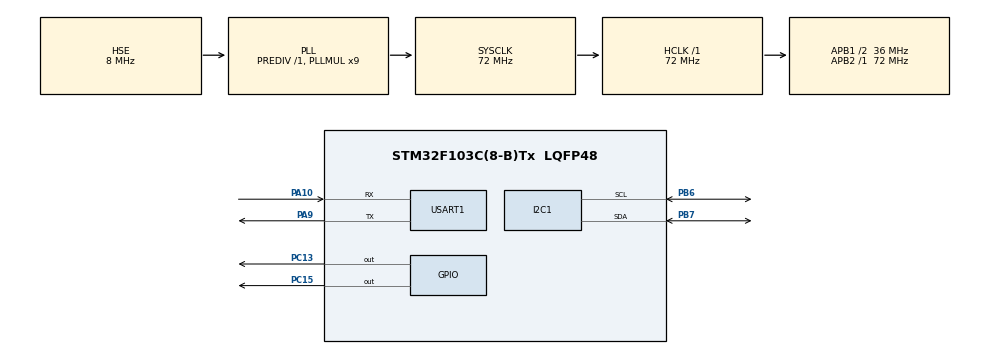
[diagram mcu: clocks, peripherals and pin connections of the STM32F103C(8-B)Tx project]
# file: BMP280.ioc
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Mcu.Family=STM32F1
Mcu.Name=STM32F103C(8-B)Tx
Mcu.Package=LQFP48
NVIC.PriorityGroup=NVIC_PRIORITYGROUP_4
NVIC.USART1_IRQn=true\:1\:0\:true\:false\:true\:true\:true\:true
PA10.Mode=Asynchronous
PA10.Signal=USART1_RX
PA13.Mode=Serial_Wire
PA13.Signal=SYS_JTMS-SWDIO
PA14.Mode=Serial_Wire
PA14.Signal=SYS_JTCK-SWCLK
PA9.Mode=Asynchronous
PA9.Signal=USART1_TX
PB6.Mode=I2C
PB6.Signal=I2C1_SCL
PB7.Mode=I2C
PB7.Signal=I2C1_SDA
PC13-TAMPER-RTC.Signal=GPIO_Output
PC15-OSC32_OUT.Signal=GPIO_Output
PD0-OSC_IN.Mode=HSE-External-Oscillator
PD0-OSC_IN.Signal=RCC_OSC_IN
PD1-OSC_OUT.Mode=HSE-External-Oscillator
PD1-OSC_OUT.Signal=RCC_OSC_OUT
ProjectManager.HeapSize=0x200
ProjectManager.StackSize=0x400
ProjectManager.TargetToolchain=CMake
RCC.AHBFreq_Value=72000000
RCC.APB1CLKDivider=RCC_HCLK_DIV2
RCC.APB1Freq_Value=36000000
RCC.APB1TimFreq_Value=72000000
RCC.APB2Freq_Value=72000000
RCC.APB2TimFreq_Value=72000000
RCC.HCLKFreq_Value=72000000
RCC.PLLMUL=RCC_PLL_MUL9
RCC.PLLSourceVirtual=RCC_PLLSOURCE_HSE
RCC.SYSCLKFreq_VALUE=72000000
RCC.SYSCLKSource=RCC_SYSCLKSOURCE_PLLCLK
RCC.USBFreq_Value=72000000
USART1.VirtualMode=VM_ASYNC
board=custom

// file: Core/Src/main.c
/* USER CODE BEGIN Header */
/**
 ******************************************************************************
 * @file           : main.c
 * @brief          : Main program body
 ******************************************************************************
 * @attention
 *
 * Copyright (c) 2025 STMicroelectronics.
 * All rights reserved.
 *
 * This software is licensed under terms that can be found in the LICENSE file
 * in the root directory of this software component.
 * If no LICENSE file comes with this software, it is provided AS-IS.
 *
 ******************************************************************************
 */
/* USER CODE END Header */
#include "main.h"

/* USER CODE BEGIN Includes */
#include "BMP280.h"
#include "UART_Handle.h"
#include "stdio.h"
#include "string.h"
#include "math.h"
/* USER CODE END Includes */

I2C_HandleTypeDef hi2c1;

UART_HandleTypeDef huart1;

/* USER CODE BEGIN PV */
BMP280_HandleTypeDef hbmp280_1;
/* USER CODE END PV */

void SystemClock_Config(void);
static void MX_GPIO_Init(void);
static void MX_I2C1_Init(void);
static void MX_USART1_UART_Init(void);

/* USER CODE BEGIN 0 */
float temperature = 0.0f, pressure = 0.0f;
uint8_t data_rx;
char tx_buffer[50];

void HAL_UART_RxCpltCallback(UART_HandleTypeDef *huart)
{
  if (huart->Instance == huart1.Instance)
  {
    UART_Receive_Rx(&data_rx);
    HAL_UART_Receive_IT(&huart1, &data_rx, 1);
  }
}

void float_to_str(float value, char *buffer, int decimal_places)
{
  char temp_buffer[20];
  int is_negative = 0;

  if (value < 0)
  {
    is_negative = 1;
    value = -value;
  }

  int integer_part = (int)value;
  float fractional_part = value - integer_part;

  int fractional_int = 0;
  for (int i = 0; i < decimal_places; i++)
  {
    fractional_part *= 10;
  }
  fractional_int = (int)(fractional_part + 0.5);

  // Xử lý tràn
  if (fractional_int >= pow(10, decimal_places))
  {
    integer_part++;
    fractional_int = 0;
  }

  if (decimal_places == 1)
  {
    sprintf(temp_buffer, "%d.%d", integer_part, fractional_int);
  }
  else if (decimal_places == 2)
  {
    sprintf(temp_buffer, "%d.%02d", integer_part, fractional_int);
  }
  else
  {
    sprintf(temp_buffer, "%d.%d", integer_part, fractional_int);
  }

  // Thêm dấu âm nếu cần
  if (is_negative)
  {
    sprintf(buffer, "-%s", temp_buffer);
  }
  else
  {
    strcpy(buffer, temp_buffer);
  }
}
/* USER CODE END 0 */

int main(void)
{

  /* MCU Configuration--------------------------------------------------------*/

  /* Reset of all peripherals, Initializes the Flash interface and the Systick. */
  HAL_Init();

  /* Configure the system clock */
  SystemClock_Config();

  /* Initialize all configured peripherals */
  MX_GPIO_Init();
  MX_I2C1_Init();
  MX_USART1_UART_Init();
  /* USER CODE BEGIN 2 */
  UART_Handle_Init();
  HAL_UART_Receive_IT(&huart1, &data_rx, 1);
  HAL_StatusTypeDef status = BMP280_Init(&hbmp280_1, &hi2c1);
  if (status == HAL_OK)
  {
    HAL_GPIO_WritePin(GPIOC, GPIO_PIN_15, GPIO_PIN_SET);
  }
  uint32_t last_send = 0;
  /* USER CODE END 2 */

  /* Infinite loop */
  while (1)
  {

    /* USER CODE BEGIN 3 */
    if (status == HAL_OK && (HAL_GetTick() - last_send > 2000)) /* Each 2 seconds */
    {
      if (BMP280_Read_Temperature_And_Pressure(&hbmp280_1, &temperature, &pressure) == HAL_OK)
      {
        char temp_str[10], press_str[10];
        float_to_str(temperature, temp_str, 1);
        float_to_str(pressure, press_str, 1);
        int len = sprintf(tx_buffer, "T:%sC P:%shPa\r\n", temp_str, press_str);
        HAL_UART_Transmit(&huart1, (uint8_t *)tx_buffer, len, 1000);

        HAL_GPIO_TogglePin(GPIOC, GPIO_PIN_13);
      }
      else
      {
        HAL_UART_Transmit(&huart1, (uint8_t *)"READ ERROR\r\n", 12, 1000);
      }
      last_send = HAL_GetTick();
    }
  }

  /* USER CODE END 3 */
}

void SystemClock_Config(void)
{
  RCC_OscInitTypeDef RCC_OscInitStruct = {0};
  RCC_ClkInitTypeDef RCC_ClkInitStruct = {0};

  /** Initializes the RCC Oscillators according to the specified parameters
   * in the RCC_OscInitTypeDef structure.
   */
  RCC_OscInitStruct.OscillatorType = RCC_OSCILLATORTYPE_HSE;
  RCC_OscInitStruct.HSEState = RCC_HSE_ON;
  RCC_OscInitStruct.HSEPredivValue = RCC_HSE_PREDIV_DIV1;
  RCC_OscInitStruct.HSIState = RCC_HSI_ON;
  RCC_OscInitStruct.PLL.PLLState = RCC_PLL_ON;
  RCC_OscInitStruct.PLL.PLLSource = RCC_PLLSOURCE_HSE;
  RCC_OscInitStruct.PLL.PLLMUL = RCC_PLL_MUL9;
  if (HAL_RCC_OscConfig(&RCC_OscInitStruct) != HAL_OK)
  {
    Error_Handler();
  }

  /** Initializes the CPU, AHB and APB buses clocks
   */
  RCC_ClkInitStruct.ClockType = RCC_CLOCKTYPE_HCLK | RCC_CLOCKTYPE_SYSCLK | RCC_CLOCKTYPE_PCLK1 | RCC_CLOCKTYPE_PCLK2;
  RCC_ClkInitStruct.SYSCLKSource = RCC_SYSCLKSOURCE_PLLCLK;
  RCC_ClkInitStruct.AHBCLKDivider = RCC_SYSCLK_DIV1;
  RCC_ClkInitStruct.APB1CLKDivider = RCC_HCLK_DIV2;
  RCC_ClkInitStruct.APB2CLKDivider = RCC_HCLK_DIV1;

  if (HAL_RCC_ClockConfig(&RCC_ClkInitStruct, FLASH_LATENCY_2) != HAL_OK)
  {
    Error_Handler();
  }
}

static void MX_I2C1_Init(void)
{

  hi2c1.Instance = I2C1;
  hi2c1.Init.ClockSpeed = 100000;
  hi2c1.Init.DutyCycle = I2C_DUTYCYCLE_2;
  hi2c1.Init.OwnAddress1 = 0;
  hi2c1.Init.AddressingMode = I2C_ADDRESSINGMODE_7BIT;
  hi2c1.Init.DualAddressMode = I2C_DUALADDRESS_DISABLE;
  hi2c1.Init.OwnAddress2 = 0;
  hi2c1.Init.GeneralCallMode = I2C_GENERALCALL_DISABLE;
  hi2c1.Init.NoStretchMode = I2C_NOSTRETCH_DISABLE;
  if (HAL_I2C_Init(&hi2c1) != HAL_OK)
  {
    Error_Handler();
  }
}

static void MX_USART1_UART_Init(void)
{

  huart1.Instance = USART1;
  huart1.Init.BaudRate = 115200;
  huart1.Init.WordLength = UART_WORDLENGTH_8B;
  huart1.Init.StopBits = UART_STOPBITS_1;
  huart1.Init.Parity = UART_PARITY_NONE;
  huart1.Init.Mode = UART_MODE_TX_RX;
  huart1.Init.HwFlowCtl = UART_HWCONTROL_NONE;
  huart1.Init.OverSampling = UART_OVERSAMPLING_16;
  if (HAL_UART_Init(&huart1) != HAL_OK)
  {
    Error_Handler();
  }
}

static void MX_GPIO_Init(void)
{
  GPIO_InitTypeDef GPIO_InitStruct = {0};

  /* GPIO Ports Clock Enable */
  __HAL_RCC_GPIOC_CLK_ENABLE();
  __HAL_RCC_GPIOD_CLK_ENABLE();
  __HAL_RCC_GPIOA_CLK_ENABLE();
  __HAL_RCC_GPIOB_CLK_ENABLE();

  /*Configure GPIO pin Output Level */
  HAL_GPIO_WritePin(GPIOC, GPIO_PIN_13 | GPIO_PIN_15, GPIO_PIN_RESET);

  /*Configure GPIO pins : PC13 PC15 */
  GPIO_InitStruct.Pin = GPIO_PIN_13 | GPIO_PIN_15;
  GPIO_InitStruct.Mode = GPIO_MODE_OUTPUT_PP;
  GPIO_InitStruct.Pull = GPIO_NOPULL;
  GPIO_InitStruct.Speed = GPIO_SPEED_FREQ_LOW;
  HAL_GPIO_Init(GPIOC, &GPIO_InitStruct);

}

void Error_Handler(void)
{
  __disable_irq();
  while (1)
  {
  }
}
